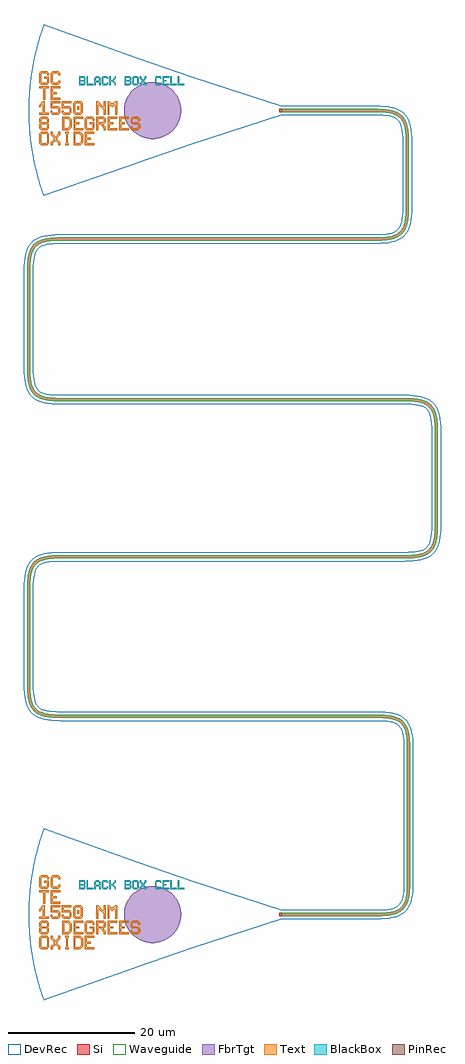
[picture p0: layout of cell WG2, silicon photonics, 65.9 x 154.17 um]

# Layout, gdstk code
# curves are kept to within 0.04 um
import gdstk
lib = gdstk.Library(unit=1e-6, precision=1e-09)
def R(c, l, rs):  # rectangles x0, y0, x1, y1
    for r in rs: c.add(gdstk.rectangle(r[:2], r[2:], *l))
def P(c, l, *ps):  # polygons
    for p in ps: c.add(gdstk.Polygon(p, *l))
Si = (1, 0)
PinRec = (1, 10)
Waveguide = (1, 99)
Text = (10, 0)
DevRec = (68, 0)
FbrTgt = (81, 0)
BlackBox = (998, 0)

text = lib.new_cell('TEXT')
P(text, BlackBox, [(0,0),(0,1.4),(0.8,1.4),(1,1.2),(0.2,1.2),(0.2,0.8),(0.7,0.8),(0.8,0.9),(0.8,1.1),(0.7,1.2),(1,1.2),(1,0.8),(0.9,0.7),(1,0.6),(0.2,0.6),(0.2,0.2),(0.7,0.2),(0.8,0.3),(0.8,0.5),(0.7,0.6),(1,0.6),(1,0.2),(0.8,0)],
  [(1.2,0),(1.2,1.4),(1.4,1.4),(1.4,0.2),(2.2,0.2),(2.2,0)],
  [(2.4,0),(2.4,1.1),(2.7,1.4),(3.1,1.4),(3.3,1.2),(2.8,1.2),(2.6,1),(2.6,0.7),(3.2,0.7),(3.2,1),(3,1.2),(3.3,1.2),(3.4,1.1),(3.4,0),(3.2,0),(3.2,0.5),(2.6,0.5),(2.6,0)],
  [(3.8,0),(3.6,0.2),(3.6,1.2),(3.8,1.4),(4.4,1.4),(4.6,1.2),(4.6,1),(4.4,1),(4.4,1.1),(4.3,1.2),(3.9,1.2),(3.8,1.1),(3.8,0.3),(3.9,0.2),(4.3,0.2),(4.4,0.3),(4.4,0.4),(4.6,0.4),(4.6,0.2),(4.4,0)],
  [(4.8,0),(4.8,1.4),(5,1.4),(5,0.8),(5.2,0.8),(5.6,1.2),(5.6,1.4),(5.8,1.4),(5.8,1.1),(5.4,0.7),(5.8,0.3),(5.8,0),(5.6,0),(5.6,0.2),(5.2,0.6),(5,0.6),(5,0)],
  [(7.2,0),(7.2,1.4),(8,1.4),(8.2,1.2),(7.4,1.2),(7.4,0.8),(7.9,0.8),(8,0.9),(8,1.1),(7.9,1.2),(8.2,1.2),(8.2,0.8),(8.1,0.7),(8.2,0.6),(7.4,0.6),(7.4,0.2),(7.9,0.2),(8,0.3),(8,0.5),(7.9,0.6),(8.2,0.6),(8.2,0.2),(8,0)],
  [(8.6,0),(8.4,0.2),(8.4,1.2),(8.6,1.4),(9.2,1.4),(9.4,1.2),(9.4,0.7),(9.2,0.7),(9.2,1.1),(9.1,1.2),(8.7,1.2),(8.6,1.1),(8.6,0.3),(8.7,0.2),(9.1,0.2),(9.2,0.3),(9.2,0.7),(9.4,0.7),(9.4,0.2),(9.2,0)],
  [(9.6,0),(9.6,0.3),(9.9,0.6),(9.9,0.8),(9.6,1.1),(9.6,1.4),(9.8,1.4),(9.8,1.2),(10.1,0.9),(10.4,1.2),(10.4,1.4),(10.6,1.4),(10.6,1.1),(10.3,0.8),(10.3,0.6),(10.6,0.3),(10.6,0),(10.4,0),(10.4,0.2),(10.1,0.5),(9.8,0.2),(9.8,0)],
  [(12.2,0),(12,0.2),(12,1.2),(12.2,1.4),(12.8,1.4),(13,1.2),(13,1),(12.8,1),(12.8,1.1),(12.7,1.2),(12.3,1.2),(12.2,1.1),(12.2,0.3),(12.3,0.2),(12.7,0.2),(12.8,0.3),(12.8,0.4),(13,0.4),(13,0.2),(12.8,0)],
  [(13.2,0),(13.2,1.4),(14.2,1.4),(14.2,1.2),(13.4,1.2),(13.4,0.8),(13.8,0.8),(13.8,0.6),(13.4,0.6),(13.4,0.2),(14.2,0.2),(14.2,0)],
  [(14.4,0),(14.4,1.4),(14.6,1.4),(14.6,0.2),(15.4,0.2),(15.4,0)],
  [(15.6,0),(15.6,1.4),(15.8,1.4),(15.8,0.2),(16.6,0.2),(16.6,0)])

gc_te_1550_8degoxide_bb = lib.new_cell('GC_TE_1550_8degOxide_BB')
R(gc_te_1550_8degoxide_bb, Si, [(-0.4,-0.25,0,0.25)])
R(gc_te_1550_8degoxide_bb, Text, [(-32.313,0.092,-32.013,0.692)])
P(gc_te_1550_8degoxide_bb, Text, [(-37.67,1.71),(-37.67,3.51),(-38.27,3.51),(-38.27,3.81),(-36.77,3.81),(-36.77,3.51),(-37.37,3.51),(-37.37,1.71)],
  [(-37.97,-5.49),(-38.27,-5.19),(-38.27,-3.69),(-37.97,-3.39),(-37.07,-3.39),(-36.77,-3.69),(-36.77,-4.44),(-37.07,-4.44),(-37.07,-3.84),(-37.22,-3.69),(-37.82,-3.69),(-37.97,-3.84),(-37.97,-5.04),(-37.82,-5.19),(-37.22,-5.19),(-37.07,-5.04),(-37.07,-4.44),(-36.77,-4.44),(-36.77,-5.19),(-37.07,-5.49)],
  [(-31.07,-5.49),(-31.07,-3.39),(-29.57,-3.39),(-29.57,-3.69),(-30.77,-3.69),(-30.77,-4.29),(-30.17,-4.29),(-30.17,-4.59),(-30.77,-4.59),(-30.77,-5.19),(-29.57,-5.19),(-29.57,-5.49)],
  [(-32.87,-3.09),(-32.87,-0.99),(-31.37,-0.99),(-31.37,-1.29),(-32.57,-1.29),(-32.57,-1.89),(-31.97,-1.89),(-31.97,-2.19),(-32.57,-2.19),(-32.57,-2.79),(-31.37,-2.79),(-31.37,-3.09)],
  [(-27.47,-3.09),(-27.47,-0.99),(-25.97,-0.99),(-25.97,-1.29),(-27.17,-1.29),(-27.17,-1.89),(-26.57,-1.89),(-26.57,-2.19),(-27.17,-2.19),(-27.17,-2.79),(-25.97,-2.79),(-25.97,-3.09)],
  [(-25.67,-3.09),(-25.67,-0.99),(-24.17,-0.99),(-24.17,-1.29),(-25.37,-1.29),(-25.37,-1.89),(-24.77,-1.89),(-24.77,-2.19),(-25.37,-2.19),(-25.37,-2.79),(-24.17,-2.79),(-24.17,-3.09)],
  [(-36.47,1.71),(-36.47,3.81),(-34.97,3.81),(-34.97,3.51),(-36.17,3.51),(-36.17,2.91),(-35.57,2.91),(-35.57,2.61),(-36.17,2.61),(-36.17,2.01),(-34.97,2.01),(-34.97,1.71)],
  [(-29.313,-0.658),(-29.313,1.442),(-29.013,1.442),(-28.263,0.692),(-28.113,0.692),(-28.113,1.442),(-27.813,1.442),(-27.813,-0.658),(-28.113,-0.658),(-28.113,0.092),(-28.863,0.842),(-29.013,0.842),(-29.013,-0.658)],
  [(-34.22,-5.49),(-34.22,-5.19),(-34.07,-5.19),(-34.07,-3.69),(-34.22,-3.69),(-34.22,-3.39),(-33.62,-3.39),(-33.62,-3.69),(-33.77,-3.69),(-33.77,-5.19),(-33.62,-5.19),(-33.62,-5.49)],
  [(-36.17,4.11),(-36.47,4.41),(-36.47,5.91),(-36.17,6.21),(-35.27,6.21),(-34.97,5.91),(-34.97,5.61),(-35.27,5.61),(-35.27,5.76),(-35.42,5.91),(-36.02,5.91),(-36.17,5.76),(-36.17,4.56),(-36.02,4.41),(-35.42,4.41),(-35.27,4.56),(-35.27,4.71),(-34.97,4.71),(-34.97,4.41),(-35.27,4.11)],
  [(-27.513,-0.658),(-27.513,1.442),(-27.213,1.442),(-26.913,1.142),(-26.613,1.142),(-26.313,1.442),(-26.013,1.442),(-26.013,-0.658),(-26.313,-0.658),(-26.313,0.842),(-26.463,0.842),(-26.763,0.542),(-27.063,0.842),(-27.213,0.842),(-27.213,-0.658)],
  [(-32.613,-0.658),(-32.913,-0.358),(-32.913,1.142),(-32.613,1.442),(-31.713,1.442),(-31.413,1.142),(-32.463,1.142),(-32.613,0.992),(-32.613,-0.208),(-32.463,-0.358),(-31.863,-0.358),(-31.713,-0.208),(-31.713,0.992),(-31.863,1.142),(-31.413,1.142),(-31.413,-0.358),(-31.713,-0.658)],
  [(-32.87,-5.49),(-32.87,-3.39),(-31.82,-3.39),(-31.52,-3.69),(-32.57,-3.69),(-32.57,-5.19),(-31.97,-5.19),(-31.67,-4.89),(-31.67,-3.99),(-31.97,-3.69),(-31.52,-3.69),(-31.37,-3.84),(-31.37,-5.04),(-31.82,-5.49)],
  [(-34.67,-3.09),(-34.67,-0.99),(-33.62,-0.99),(-33.32,-1.29),(-34.37,-1.29),(-34.37,-2.79),(-33.77,-2.79),(-33.47,-2.49),(-33.47,-1.59),(-33.77,-1.29),(-33.32,-1.29),(-33.17,-1.44),(-33.17,-2.64),(-33.62,-3.09)],
  [(-23.57,-3.09),(-23.87,-2.79),(-23.87,-2.49),(-23.57,-2.49),(-23.57,-2.64),(-23.42,-2.79),(-22.82,-2.79),(-22.67,-2.64),(-22.67,-2.34),(-22.82,-2.19),(-23.57,-2.19),(-23.87,-1.89),(-23.87,-1.29),(-23.57,-0.99),(-22.67,-0.99),(-22.37,-1.29),(-22.37,-1.59),(-22.67,-1.59),(-22.67,-1.44),(-22.82,-1.29),(-23.42,-1.29),(-23.57,-1.44),(-23.57,-1.74),(-23.42,-1.89),(-22.67,-1.89),(-22.37,-2.19),(-22.37,-2.79),(-22.67,-3.09)],
  [(-36.213,-0.658),(-36.513,-0.358),(-36.513,-0.058),(-36.213,-0.058),(-36.213,-0.208),(-36.063,-0.358),(-35.463,-0.358),(-35.313,-0.208),(-35.313,0.242),(-35.463,0.392),(-36.513,0.392),(-36.513,1.442),(-35.013,1.442),(-35.013,1.142),(-36.213,1.142),(-36.213,0.692),(-35.313,0.692),(-35.013,0.392),(-35.013,-0.358),(-35.313,-0.658)],
  [(-34.413,-0.658),(-34.713,-0.358),(-34.713,-0.058),(-34.413,-0.058),(-34.413,-0.208),(-34.263,-0.358),(-33.663,-0.358),(-33.513,-0.208),(-33.513,0.242),(-33.663,0.392),(-34.713,0.392),(-34.713,1.442),(-33.213,1.442),(-33.213,1.142),(-34.413,1.142),(-34.413,0.692),(-33.513,0.692),(-33.213,0.392),(-33.213,-0.358),(-33.513,-0.658)],
  [(-37.97,-3.09),(-38.27,-2.79),(-38.27,-2.19),(-38.12,-2.04),(-38.27,-1.89),(-38.27,-1.29),(-37.97,-0.99),(-37.07,-0.99),(-36.77,-1.29),(-37.82,-1.29),(-37.97,-1.44),(-37.97,-1.74),(-37.82,-1.89),(-37.22,-1.89),(-37.07,-1.74),(-37.07,-1.44),(-37.22,-1.29),(-36.77,-1.29),(-36.77,-1.89),(-36.92,-2.04),(-36.77,-2.19),(-37.82,-2.19),(-37.97,-2.34),(-37.97,-2.64),(-37.82,-2.79),(-37.22,-2.79),(-37.07,-2.64),(-37.07,-2.34),(-37.22,-2.19),(-36.77,-2.19),(-36.77,-2.79),(-37.07,-3.09)],
  [(-38.313,-0.658),(-38.313,-0.358),(-37.713,-0.358),(-37.713,0.842),(-37.863,0.842),(-38.163,0.542),(-38.313,0.542),(-38.313,0.842),(-37.713,1.442),(-37.413,1.442),(-37.413,-0.358),(-36.813,-0.358),(-36.813,-0.658)],
  [(-36.47,-5.49),(-36.47,-5.04),(-36.02,-4.59),(-36.02,-4.29),(-36.47,-3.84),(-36.47,-3.39),(-36.17,-3.39),(-36.17,-3.69),(-35.72,-4.14),(-35.27,-3.69),(-35.27,-3.39),(-34.97,-3.39),(-34.97,-3.84),(-35.42,-4.29),(-35.42,-4.59),(-34.97,-5.04),(-34.97,-5.49),(-35.27,-5.49),(-35.27,-5.19),(-35.72,-4.74),(-36.17,-5.19),(-36.17,-5.49)],
  [(-30.77,-3.09),(-31.07,-2.79),(-31.07,-1.29),(-30.77,-0.99),(-29.87,-0.99),(-29.57,-1.29),(-29.57,-1.59),(-29.87,-1.59),(-29.87,-1.44),(-30.02,-1.29),(-30.62,-1.29),(-30.77,-1.44),(-30.77,-2.64),(-30.62,-2.79),(-30.02,-2.79),(-29.87,-2.64),(-29.87,-2.19),(-30.32,-2.19),(-30.32,-1.89),(-29.57,-1.89),(-29.57,-2.79),(-29.87,-3.09)],
  [(-37.97,4.11),(-38.27,4.41),(-38.27,5.91),(-37.97,6.21),(-37.07,6.21),(-36.77,5.91),(-36.77,5.61),(-37.07,5.61),(-37.07,5.76),(-37.22,5.91),(-37.82,5.91),(-37.97,5.76),(-37.97,4.56),(-37.82,4.41),(-37.22,4.41),(-37.07,4.56),(-37.07,5.01),(-37.52,5.01),(-37.52,5.31),(-36.77,5.31),(-36.77,4.41),(-37.07,4.11)],
  [(-29.27,-3.09),(-29.27,-0.99),(-28.07,-0.99),(-27.77,-1.29),(-28.97,-1.29),(-28.97,-1.89),(-28.22,-1.89),(-28.07,-1.74),(-28.07,-1.44),(-28.22,-1.29),(-27.77,-1.29),(-27.77,-1.89),(-28.07,-2.19),(-28.07,-2.34),(-27.77,-2.64),(-27.77,-3.09),(-28.07,-3.09),(-28.07,-2.79),(-28.67,-2.19),(-28.97,-2.19),(-28.97,-3.09)])
P(gc_te_1550_8degoxide_bb, DevRec, [(-37.607,-13.5),(-38.627,-10.245),(-39.378,-6.832),(-39.647,-5.058),(-39.835,-3.274),(-39.969,0.224),(-39.812,3.541),(-39.331,7.097),(-38.557,10.505),(-37.546,13.669),(-22.8,8.353),(-14.109,5.36),(0,0.75),(0,-0.75),(-14.109,-5.36)])
P(gc_te_1550_8degoxide_bb, FbrTgt, [(-20.621,-4.5),(-21.495,-4.37),(-22.326,-4.073),(-23.084,-3.619),(-23.738,-3.026),(-24.264,-2.316),(-24.642,-1.518),(-24.857,-0.661),(-24.9,0.221),(-24.77,1.095),(-24.473,1.926),(-24.019,2.684),(-23.426,3.338),(-22.716,3.864),(-21.918,4.242),(-21.061,4.457),(-20.179,4.5),(-19.305,4.37),(-18.474,4.073),(-17.716,3.619),(-17.062,3.026),(-16.536,2.316),(-16.158,1.518),(-15.943,0.661),(-15.9,-0.221),(-16.03,-1.095),(-16.327,-1.926),(-16.781,-2.684),(-17.374,-3.338),(-18.084,-3.864),(-18.882,-4.242),(-19.739,-4.457)])
gc_te_1550_8degoxide_bb.add(gdstk.FlexPath([(-0.01,0),(0.01,0)], 0.5, ends="flush", simple_path=True, layer=1, datatype=10))  # PinRec
gc_te_1550_8degoxide_bb.add(gdstk.Reference(text, (-32,4)))
gc_te_1550_8degoxide_bb.add(gdstk.Label('opt1', (0,0), layer=1, texttype=10))
gc_te_1550_8degoxide_bb.add(gdstk.Label('Lumerical_INTERCONNECT_library=Design kits/ebeam', (-29,-7), layer=68, texttype=0))
gc_te_1550_8degoxide_bb.add(gdstk.Label('Component=GC_TE_1550_8degOxide_BB', (-28,-5), layer=68, texttype=0))

waveguide_1 = lib.new_cell('Waveguide$1')
P(waveguide_1, Si, [(39.969,13.25),(39.969,13.75),(55.01,13.75),(56.396,13.804),(57.352,13.946),(58.104,14.187),(58.678,14.535),(59.163,15.1),(59.416,15.636),(59.595,16.304),(59.756,18.073),(59.76,39.82),(59.721,41.027),(59.594,42.017),(59.37,42.802),(59.04,43.403),(58.503,43.914),(57.874,44.226),(56.899,44.458),(55.641,44.561),(5,44.57),(3.209,44.665),(2.396,44.815),(1.832,44.996),(1.339,45.24),(0.917,45.554),(0.352,46.277),(-0.006,47.217),(-0.21,48.578),(-0.248,65.233),(-0.176,66.624),(0.035,67.761),(0.231,68.308),(0.568,68.891),(0.918,69.277),(1.34,69.591),(1.833,69.835),(2.551,70.053),(4.149,70.243),(59.398,70.26),(61.127,70.351),(61.74,70.456),(62.38,70.65),(63.066,71.045),(63.364,71.343),(63.608,71.707),(63.92,72.531),(64.11,73.804),(64.143,90.258),(64.035,91.72),(63.758,92.812),(63.294,93.577),(62.891,93.924),(62.491,94.144),(61.442,94.443),(60.029,94.571),(5,94.58),(3.209,94.675),(2.396,94.825),(1.832,95.006),(1.016,95.479),(0.419,96.17),(0.034,97.08),(-0.195,98.399),(-0.25,99.83),(-0.25,115.2),(-0.155,116.991),(-0.005,117.804),(0.231,118.498),(0.568,119.081),(1.017,119.552),(1.578,119.911),(2.25,120.166),(3.037,120.332),(3.951,120.423),(54.82,120.45),(56.549,120.541),(57.162,120.646),(57.802,120.84),(58.567,121.304),(58.851,121.618),(59.083,122),(59.405,123.004),(59.553,124.371),(59.542,136.522),(59.457,137.39),(59.266,138.242),(59.029,138.804),(58.716,139.247),(58.313,139.594),(57.684,139.906),(56.864,140.113),(55.841,140.223),(39.969,140.25),(39.969,140.75),(55.041,140.749),(56.61,140.656),(57.423,140.506),(58.117,140.27),(58.7,139.933),(59.086,139.583),(59.467,139.044),(59.742,138.394),(59.924,137.631),(60.029,136.743),(60.07,125.2),(59.976,123.41),(59.743,122.307),(59.33,121.429),(58.701,120.768),(57.988,120.376),(57.424,120.195),(56.611,120.045),(54.82,119.95),(3.794,119.912),(2.956,119.813),(2.259,119.647),(1.697,119.41),(1.333,119.166),(0.97,118.783),(0.687,118.294),(0.479,117.68),(0.341,116.929),(0.25,115.2),(0.288,98.624),(0.478,97.351),(0.79,96.527),(1.034,96.163),(1.332,95.865),(2.135,95.425),(3.271,95.171),(5,95.08),(60.045,95.071),(61.69,94.905),(62.82,94.541),(63.278,94.263),(63.664,93.913),(63.978,93.491),(64.222,92.998),(64.529,91.794),(64.643,90.268),(64.608,73.768),(64.404,72.407),(64.046,71.467),(63.481,70.744),(63.059,70.43),(62.566,70.186),(62.002,70.005),(61.189,69.855),(59.398,69.76),(4.369,69.751),(2.804,69.595),(2.136,69.416),(1.697,69.22),(1.333,68.976),(1.035,68.678),(0.791,68.314),(0.554,67.752),(0.341,66.739),(0.252,65.227),(0.288,48.614),(0.478,47.341),(0.79,46.517),(1.034,46.153),(1.332,45.855),(2.018,45.46),(2.658,45.266),(3.271,45.161),(5,45.07),(55.657,45.061),(56.973,44.952),(58.042,44.696),(58.89,44.253),(59.442,43.701),(59.779,43.118),(60.052,42.27),(60.204,41.252),(60.26,39.82),(60.251,17.853),(60.187,16.887),(60.053,16.051),(59.835,15.333),(59.591,14.84),(59.093,14.234),(58.433,13.79),(57.614,13.495),(56.442,13.306),(55.01,13.25)])
P(waveguide_1, Waveguide, [(39.969,13.25),(39.969,13.75),(55.01,13.75),(56.396,13.804),(57.352,13.946),(58.104,14.187),(58.678,14.535),(59.163,15.1),(59.416,15.636),(59.595,16.304),(59.756,18.073),(59.76,39.82),(59.721,41.027),(59.594,42.017),(59.37,42.802),(59.04,43.403),(58.503,43.914),(57.874,44.226),(56.899,44.458),(55.641,44.561),(5,44.57),(3.209,44.665),(2.396,44.815),(1.832,44.996),(1.339,45.24),(0.917,45.554),(0.352,46.277),(-0.006,47.217),(-0.21,48.578),(-0.248,65.233),(-0.176,66.624),(0.035,67.761),(0.231,68.308),(0.568,68.891),(0.918,69.277),(1.34,69.591),(1.833,69.835),(2.551,70.053),(4.149,70.243),(59.398,70.26),(61.127,70.351),(61.74,70.456),(62.38,70.65),(63.066,71.045),(63.364,71.343),(63.608,71.707),(63.92,72.531),(64.11,73.804),(64.143,90.258),(64.035,91.72),(63.758,92.812),(63.294,93.577),(62.891,93.924),(62.491,94.144),(61.442,94.443),(60.029,94.571),(5,94.58),(3.209,94.675),(2.396,94.825),(1.832,95.006),(1.016,95.479),(0.419,96.17),(0.034,97.08),(-0.195,98.399),(-0.25,99.83),(-0.25,115.2),(-0.155,116.991),(-0.005,117.804),(0.231,118.498),(0.568,119.081),(1.017,119.552),(1.578,119.911),(2.25,120.166),(3.037,120.332),(3.951,120.423),(54.82,120.45),(56.549,120.541),(57.162,120.646),(57.802,120.84),(58.567,121.304),(58.851,121.618),(59.083,122),(59.405,123.004),(59.553,124.371),(59.542,136.522),(59.457,137.39),(59.266,138.242),(59.029,138.804),(58.716,139.247),(58.313,139.594),(57.684,139.906),(56.864,140.113),(55.841,140.223),(39.969,140.25),(39.969,140.75),(55.041,140.749),(56.61,140.656),(57.423,140.506),(58.117,140.27),(58.7,139.933),(59.086,139.583),(59.467,139.044),(59.742,138.394),(59.924,137.631),(60.029,136.743),(60.07,125.2),(59.976,123.41),(59.743,122.307),(59.33,121.429),(58.701,120.768),(57.988,120.376),(57.424,120.195),(56.611,120.045),(54.82,119.95),(3.794,119.912),(2.956,119.813),(2.259,119.647),(1.697,119.41),(1.333,119.166),(0.97,118.783),(0.687,118.294),(0.479,117.68),(0.341,116.929),(0.25,115.2),(0.288,98.624),(0.478,97.351),(0.79,96.527),(1.034,96.163),(1.332,95.865),(2.135,95.425),(3.271,95.171),(5,95.08),(60.045,95.071),(61.69,94.905),(62.82,94.541),(63.278,94.263),(63.664,93.913),(63.978,93.491),(64.222,92.998),(64.529,91.794),(64.643,90.268),(64.608,73.768),(64.404,72.407),(64.046,71.467),(63.481,70.744),(63.059,70.43),(62.566,70.186),(62.002,70.005),(61.189,69.855),(59.398,69.76),(4.369,69.751),(2.804,69.595),(2.136,69.416),(1.697,69.22),(1.333,68.976),(1.035,68.678),(0.791,68.314),(0.554,67.752),(0.341,66.739),(0.252,65.227),(0.288,48.614),(0.478,47.341),(0.79,46.517),(1.034,46.153),(1.332,45.855),(2.018,45.46),(2.658,45.266),(3.271,45.161),(5,45.07),(55.657,45.061),(56.973,44.952),(58.042,44.696),(58.89,44.253),(59.442,43.701),(59.779,43.118),(60.052,42.27),(60.204,41.252),(60.26,39.82),(60.251,17.853),(60.187,16.887),(60.053,16.051),(59.835,15.333),(59.591,14.84),(59.093,14.234),(58.433,13.79),(57.614,13.495),(56.442,13.306),(55.01,13.25)])
P(waveguide_1, DevRec, [(39.969,12.75),(39.969,14.25),(56.241,14.293),(57.204,14.426),(57.906,14.646),(58.386,14.943),(58.725,15.342),(59.085,16.307),(59.25,17.851),(59.26,39.82),(59.217,41.051),(59.084,42.014),(58.864,42.716),(58.567,43.196),(58.168,43.535),(57.585,43.795),(56.754,43.973),(55.659,44.06),(5,44.07),(3.047,44.182),(1.972,44.416),(1.49,44.598),(0.65,45.123),(0.011,45.87),(-0.405,46.793),(-0.541,47.311),(-0.704,48.47),(-0.75,49.82),(-0.75,65.011),(-0.638,66.963),(-0.404,68.038),(0.012,68.961),(0.303,69.36),(1.05,69.999),(1.491,70.233),(2.491,70.551),(4.299,70.75),(59.398,70.76),(61.143,70.858),(62.294,71.156),(62.774,71.453),(62.956,71.635),(63.253,72.115),(63.551,73.266),(63.638,74.361),(63.637,90.48),(63.55,91.575),(63.252,92.726),(62.955,93.206),(62.773,93.388),(62.293,93.685),(61.142,93.983),(60.047,94.07),(5,94.08),(3.047,94.192),(1.972,94.426),(1.49,94.608),(0.65,95.133),(0.011,95.88),(-0.405,96.803),(-0.541,97.321),(-0.704,98.48),(-0.75,99.83),(-0.75,115.201),(-0.638,117.153),(-0.404,118.228),(-0.222,118.71),(0.303,119.55),(0.651,119.898),(1.05,120.189),(1.973,120.605),(2.491,120.741),(3.65,120.904),(5,120.95),(54.82,120.95),(56.565,121.048),(57.716,121.346),(58.196,121.643),(58.378,121.825),(58.675,122.305),(58.973,123.456),(59.06,124.551),(59.059,136.15),(58.894,137.694),(58.674,138.396),(58.377,138.876),(57.978,139.215),(57.395,139.475),(56.564,139.653),(55.469,139.74),(39.969,139.75),(39.969,141.25),(54.82,141.25),(56.772,141.139),(57.847,140.905),(58.329,140.723),(59.169,140.198),(59.517,139.85),(59.808,139.451),(60.224,138.528),(60.36,138.01),(60.523,136.851),(60.57,135.501),(60.57,125.199),(60.459,123.248),(60.225,122.173),(59.809,121.25),(59.17,120.503),(58.33,119.978),(57.848,119.796),(56.773,119.562),(54.82,119.45),(4.351,119.44),(2.807,119.275),(1.842,118.915),(1.443,118.576),(1.146,118.096),(0.848,116.945),(0.75,115.199),(0.792,98.6),(0.925,97.637),(1.145,96.935),(1.442,96.455),(1.624,96.273),(2.104,95.976),(3.255,95.678),(5,95.58),(60.099,95.57),(61.907,95.371),(62.907,95.053),(63.348,94.819),(64.095,94.18),(64.386,93.781),(64.802,92.858),(65.036,91.783),(65.148,89.831),(65.148,75.01),(65.102,73.66),(64.939,72.501),(64.803,71.983),(64.387,71.06),(63.748,70.313),(62.908,69.788),(62.426,69.606),(61.351,69.372),(59.398,69.26),(4.351,69.25),(3.256,69.163),(2.105,68.865),(1.625,68.568),(1.443,68.386),(1.146,67.906),(1.026,67.586),(0.848,66.755),(0.75,65.009),(0.76,49.171),(0.847,48.076),(1.145,46.925),(1.442,46.445),(1.624,46.263),(2.104,45.966),(3.255,45.668),(5,45.57),(55.711,45.56),(57.519,45.361),(58.519,45.043),(59.359,44.518),(59.998,43.771),(60.232,43.33),(60.55,42.33),(60.713,41.171),(60.76,39.82),(60.75,17.799),(60.551,15.991),(60.233,14.991),(59.999,14.55),(59.36,13.803),(58.52,13.278),(57.52,12.96),(56.361,12.797),(55.011,12.75)])
waveguide_1.add(gdstk.FlexPath([(39.979,140.5),(39.959,140.5)], 0.5, ends="flush", simple_path=True, layer=1, datatype=10))  # PinRec
waveguide_1.add(gdstk.FlexPath([(39.979,13.5),(39.959,13.5)], 0.5, ends="flush", simple_path=True, layer=1, datatype=10))  # PinRec
waveguide_1.add(gdstk.Label('opt1', (39.969,140.5), layer=1, texttype=10))
waveguide_1.add(gdstk.Label('opt2', (39.969,13.5), layer=1, texttype=10))
waveguide_1.add(gdstk.Label('Lumerical_INTERCONNECT_library=Design kits/EBeam', (39.969,140.4), layer=68, texttype=0))
waveguide_1.add(gdstk.Label('Component=ebeam_wg_integral_1550', (39.969,140.6), layer=68, texttype=0))
waveguide_1.add(gdstk.Label('cellName=Waveguide', (39.969,140.7), layer=68, texttype=0))
waveguide_1.add(gdstk.Label('Length=400.001 (microns)', (39.969,139.9), layer=68, texttype=0))
waveguide_1.add(gdstk.Label('waveguide_type=Strip TE 1550 nm, w=500 nm', (39.969,140.3), layer=68, texttype=0))

wg2 = lib.new_cell('WG2')
r = gdstk.Reference(gc_te_1550_8degoxide_bb, (39.969,13.5)); r.repetition = gdstk.Repetition(1, 2, v1=(0,0), v2=(0,127)); wg2.add(r)
wg2.add(gdstk.Reference(waveguide_1, (0,0)))

lib.write_gds('WG2.gds')
